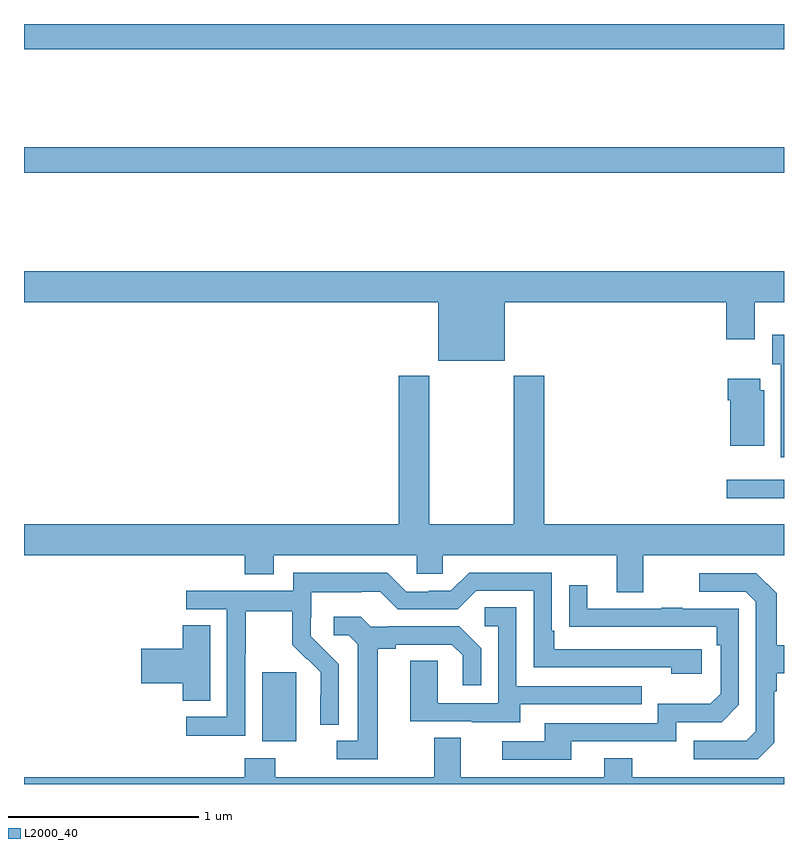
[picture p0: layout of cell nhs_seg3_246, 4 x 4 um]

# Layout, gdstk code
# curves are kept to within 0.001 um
import gdstk
lib = gdstk.Library(unit=1e-6, precision=1e-09)
def R(c, l, rs):  # rectangles x0, y0, x1, y1
    for r in rs: c.add(gdstk.rectangle(r[:2], r[2:], *l))
def P(c, l, *ps):  # polygons
    for p in ps: c.add(gdstk.Polygon(p, *l))
L2000_40 = (2000, 40)

nhs_seg3_246 = lib.new_cell('nhs_seg3_246')
R(nhs_seg3_246, L2000_40, [(124.253,678.626,124.432,678.987), (126.699,679.904,127,680.001), (123,681.616,127,681.752), (123,682.268,127,682.4)])
P(nhs_seg3_246, L2000_40, [(125.53,680.936),(126.695,680.936),(126.695,680.742),(126.847,680.742),(126.847,680.936),(127,680.936),(127,681.1),(123,681.1),(123,680.936),(125.18,680.936),(125.18,680.627),(125.53,680.627)],
  [(127,680.764),(126.938,680.764),(126.938,680.61),(126.983,680.61),(126.983,680.121),(127,680.121)],
  [(126.259,679.604),(127,679.604),(127,679.768),(125.738,679.768),(125.738,680.548),(125.578,680.548),(125.578,679.768),(125.133,679.768),(125.133,680.548),(124.973,680.548),(124.973,679.768),(123,679.768),(123,679.604),(124.163,679.604),(124.163,679.505),(124.315,679.505),(124.315,679.604),(125.067,679.604),(125.067,679.506),(125.205,679.506),(125.205,679.604),(126.119,679.604),(126.119,679.41),(126.259,679.41)],
  [(126.895,680.472),(126.874,680.472),(126.874,680.533),(126.704,680.533),(126.704,680.42),(126.716,680.42),(126.716,680.18),(126.895,680.18)],
  [(124.164,679.084),(124.167,679.084),(124.167,679.308),(124.411,679.308),(124.411,679.133),(124.488,679.056),(124.491,679.059),(124.562,678.989),(124.562,678.866),(124.56,678.866),(124.56,678.712),(124.656,678.712),(124.656,679.03),(124.51,679.178),(124.51,679.275),(124.512,679.275),(124.512,679.409),(124.775,679.409),(124.775,679.413),(124.875,679.413),(124.968,679.32),(125.283,679.32),(125.379,679.416),(125.682,679.416),(125.682,679.014),(126.407,679.014),(126.407,678.98),(126.568,678.98),(126.568,679.11),(125.791,679.11),(125.791,679.207),(125.778,679.207),(125.778,679.512),(125.343,679.512),(125.247,679.416),(125.129,679.416),(125.129,679.413),(125.013,679.413),(124.913,679.513),(124.416,679.513),(124.416,679.416),(123.855,679.416),(123.855,679.32),(124.068,679.32),(124.068,678.753),(123.855,678.753),(123.855,678.655),(124.164,678.655)],
  [(126.948,678.618),(126.948,678.887),(126.961,678.887),(126.961,678.983),(127,678.983),(127,679.131),(126.961,679.131),(126.961,679.403),(126.855,679.509),(126.555,679.509),(126.555,679.413),(126.798,679.413),(126.852,679.359),(126.852,678.678),(126.801,678.627),(126.525,678.627),(126.525,678.531),(126.861,678.531)],
  [(125.881,678.624),(126.432,678.624),(126.432,678.726),(126.672,678.726),(126.762,678.816),(126.762,679.323),(126.467,679.323),(126.467,679.328),(126.355,679.328),(126.355,679.323),(125.965,679.323),(125.965,679.447),(125.869,679.447),(125.869,679.228),(126.646,679.227),(126.646,679.13),(126.666,679.13),(126.666,678.876),(126.613,678.823),(126.336,678.823),(126.336,678.72),(125.741,678.72),(125.741,678.624),(125.517,678.624),(125.517,678.528),(125.881,678.528)],
  [(125.611,678.819),(126.251,678.819),(126.251,678.915),(125.592,678.915),(125.592,679.331),(125.424,679.331),(125.424,679.23),(125.496,679.23),(125.496,678.825),(125.178,678.825),(125.178,679.049),(125.033,679.049),(125.033,678.729),(125.357,678.729),(125.357,678.725),(125.611,678.725)],
  [(124.861,679.112),(124.957,679.112),(124.957,679.134),(125.252,679.134),(125.309,679.077),(125.309,678.921),(125.406,678.921),(125.406,679.114),(125.29,679.23),(124.918,679.23),(124.918,679.227),(124.824,679.227),(124.772,679.279),(124.629,679.279),(124.629,679.182),(124.71,679.182),(124.757,679.135),(124.757,678.627),(124.647,678.627),(124.647,678.531),(124.861,678.531)],
  [(123.979,679.235),(123.836,679.235),(123.836,679.112),(123.618,679.112),(123.618,678.929),(123.836,678.929),(123.836,678.838),(123.979,678.838)],
  [(127,678.436),(126.201,678.436),(126.201,678.535),(126.053,678.535),(126.053,678.436),(125.299,678.436),(125.299,678.644),(125.159,678.644),(125.159,678.436),(124.323,678.436),(124.323,678.535),(124.163,678.535),(124.163,678.436),(123,678.436),(123,678.4),(127,678.4)])

lib.write_gds('nhs_seg3_246.gds')
